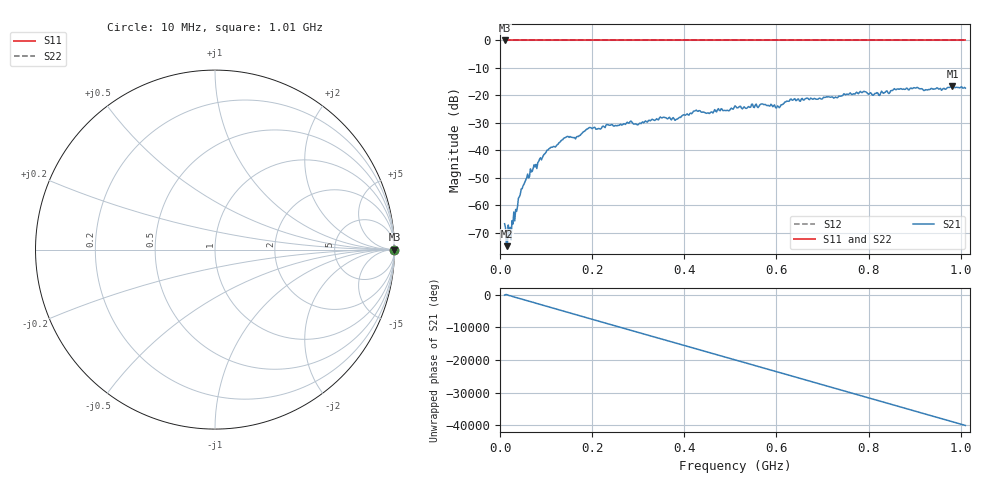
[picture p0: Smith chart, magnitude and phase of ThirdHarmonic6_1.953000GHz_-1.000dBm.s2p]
! 8/16/2025 11:31:00 PM
! C:\ANRITSUVNA\TEMP\TEMP.S2P
! CHANNEL.1
! TR.MEASUREMENT
! RAW.DATA
! RF.CORRECTION.OFF
! AVERAGING.OFF
! IF.BANDWIDTH: 5KHZ
! SWEEPTYPE:  FREQ.SWEEP(Linear)
! Reference Plane Port Info
! PORT:  PORT1  PORT2
! DISTANCE:  0  m  0  m
! TIME:  0  s  0  s
! PHASE.OFFSET:  0  deg.  0  deg.
! LOSS:  0  dB  0  dB
! REF.LOSS:  0  dB  0  dB
! REF.FREQ:  0  Hz  0  Hz
! Power Info
! POWER:  -20  dBm  -20  dBm
! EFF.POWER:  -20  dBm  -20  dBm
! SOURCE.ATTEN:  0  dB  0  dB
! TEST.ATTEN:  0  dB  0  dB
# GHZ S RI R 50.0
! FREQ.GHZ  S11RE  S11IM  S21RE  S21IM  S12RE  S12IM  S22RE  S22IM
!; PortSelection: Port_12
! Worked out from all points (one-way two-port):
!   501 points, 10 MHz to 1.01 GHz, reference 50 ohm
!   highest |S21| = -16.70 dB at 982 MHz (marker M1); lowest = -74.8 dB at 16 MHz (marker M2)
!   lowest |S11| = 0.0 dB at 10 MHz (marker M3)
!   |S11| at or under -10 dB: nowhere
!   |S22| runs from 0.0 to 0.0 dB; largest |S21 - S12| = 1.1
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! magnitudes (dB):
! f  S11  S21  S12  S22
! 10 MHz  0.0  -66.6  0.0  0.0
! 16 MHz  0.0  -74.8  0.0  0.0
! 24 MHz  0.0  -72.5  0.0  0.0
! 48 MHz  0.0  -53.9  0.0  0.0
! 70 MHz  0.0  -47.6  0.0  0.0
! 106 MHz  0.0  -39.4  0.0  0.0
! 142 MHz  0.0  -35.2  0.0  0.0
! 178 MHz  0.0  -33.8  0.0  0.0
! 194 MHz  0.0  -31.6  0.0  0.0
! 302 MHz  0.0  -30.2  0.0  0.0
! 344 MHz  0.0  -28.9  0.0  0.0
! 382 MHz  0.0  -28.7  0.0  0.0
! 424 MHz  0.0  -25.5  0.0  0.0
! 452 MHz  0.0  -26.3  0.0  0.0
! 510 MHz  0.0  -23.8  0.0  0.0
! 570 MHz  0.0  -23.1  0.0  0.0
! 602 MHz  0.0  -23.8  0.0  0.0
! 634 MHz  0.0  -21.7  0.0  0.0
! 678 MHz  0.0  -21.4  0.0  0.0
! 844 MHz  0.0  -19.3  0.0  0.0
! 982 MHz  0.0  -16.7  0.0  0.0
! 1.01 GHz  0.0  -17.3  0.0  0.0
